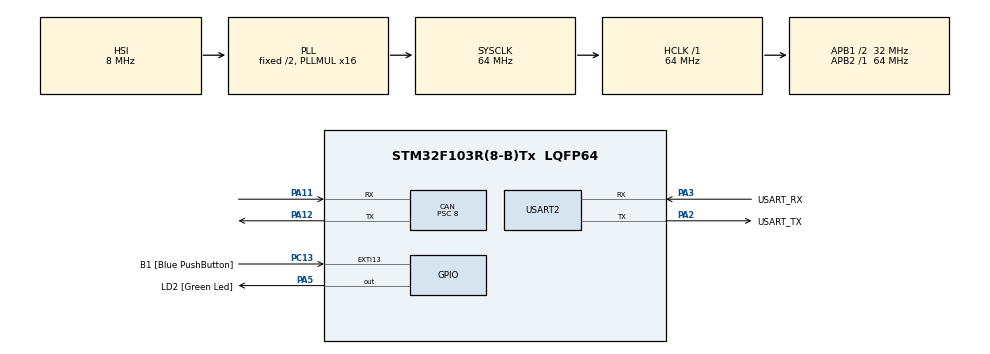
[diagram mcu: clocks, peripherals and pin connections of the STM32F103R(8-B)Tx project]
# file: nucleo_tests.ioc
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CAN.BS1=CAN_BS1_11TQ
CAN.BS2=CAN_BS2_4TQ
CAN.CalculateBaudRate=250000
CAN.CalculateTimeBit=4000
CAN.CalculateTimeQuantum=250.0
CAN.Mode=CAN_MODE_NORMAL
CAN.Prescaler=8
Mcu.Family=STM32F1
Mcu.Name=STM32F103R(8-B)Tx
Mcu.Package=LQFP64
NVIC.CAN1_RX1_IRQn=true\:0\:0\:false\:false\:true\:true\:true\:true
NVIC.CAN1_SCE_IRQn=true\:0\:0\:false\:false\:true\:true\:true\:true
NVIC.EXTI15_10_IRQn=true\:0\:0\:false\:false\:true\:true\:true\:true
NVIC.PriorityGroup=NVIC_PRIORITYGROUP_4
NVIC.USB_HP_CAN1_TX_IRQn=true\:0\:0\:false\:false\:true\:true\:true\:true
NVIC.USB_LP_CAN1_RX0_IRQn=true\:0\:0\:false\:false\:true\:true\:true\:true
PA11.Mode=CAN_Activate
PA11.Signal=CAN_RX
PA12.Mode=CAN_Activate
PA12.Signal=CAN_TX
PA13.GPIO_Label=TMS
PA13.Mode=Serial_Wire
PA13.Signal=SYS_JTMS-SWDIO
PA14.GPIO_Label=TCK
PA14.Mode=Serial_Wire
PA14.Signal=SYS_JTCK-SWCLK
PA2.GPIO_Label=USART_TX
PA2.GPIO_Mode=GPIO_MODE_AF_PP
PA2.GPIO_PuPd=GPIO_NOPULL
PA2.GPIO_Speed=GPIO_SPEED_FREQ_LOW
PA2.Mode=Asynchronous
PA2.Signal=USART2_TX
PA3.GPIO_Label=USART_RX
PA3.GPIO_Mode=GPIO_MODE_AF_PP
PA3.GPIO_PuPd=GPIO_NOPULL
PA3.GPIO_Speed=GPIO_SPEED_FREQ_LOW
PA3.Mode=Asynchronous
PA3.Signal=USART2_RX
PA5.GPIO_Label=LD2 [Green Led]
PA5.GPIO_ModeDefaultOutputPP=GPIO_MODE_OUTPUT_PP
PA5.GPIO_PuPd=GPIO_NOPULL
PA5.GPIO_Speed=GPIO_SPEED_FREQ_LOW
PA5.Signal=GPIO_Output
PB3.GPIO_Label=SWO
PB3.Signal=SYS_JTDO-TRACESWO
PC13-TAMPER-RTC.GPIO_Label=B1 [Blue PushButton]
PC13-TAMPER-RTC.GPIO_PuPd=GPIO_NOPULL
PC13-TAMPER-RTC.Signal=GPXTI13
PC14-OSC32_IN.Mode=LSE-External-Oscillator
PC14-OSC32_IN.Signal=RCC_OSC32_IN
PC15-OSC32_OUT.Mode=LSE-External-Oscillator
PC15-OSC32_OUT.Signal=RCC_OSC32_OUT
PD0-OSC_IN.Mode=HSE-External-Clock-Source
PD0-OSC_IN.Signal=RCC_OSC_IN
PD1-OSC_OUT.Mode=HSE-External-Clock-Source
PD1-OSC_OUT.Signal=RCC_OSC_OUT
ProjectManager.HeapSize=0x200
ProjectManager.StackSize=0x400
ProjectManager.TargetToolchain=STM32CubeIDE
RCC.AHBFreq_Value=64000000
RCC.APB1CLKDivider=RCC_HCLK_DIV2
RCC.APB1Freq_Value=32000000
RCC.APB1TimFreq_Value=64000000
RCC.APB2Freq_Value=64000000
RCC.APB2TimFreq_Value=64000000
RCC.HCLKFreq_Value=64000000
RCC.PLLMUL=RCC_PLL_MUL16
RCC.RTCClockSelection=RCC_RTCCLKSOURCE_LSE
RCC.SYSCLKFreq_VALUE=64000000
RCC.SYSCLKSource=RCC_SYSCLKSOURCE_PLLCLK
RCC.USBFreq_Value=64000000
USART2.VirtualMode=VM_ASYNC
board=NUCLEO-F103RB

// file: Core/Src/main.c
/* USER CODE BEGIN Header */
/**
  ******************************************************************************
  * @file           : main.c
  * @brief          : Main program body
  ******************************************************************************
  * @attention
  *
  * Copyright (c) 2025 STMicroelectronics.
  * All rights reserved.
  *
  * This software is licensed under terms that can be found in the LICENSE file
  * in the root directory of this software component.
  * If no LICENSE file comes with this software, it is provided AS-IS.
  *
  ******************************************************************************
  */
/* USER CODE END Header */
#include "main.h"

/* USER CODE BEGIN Includes */
#include <stdio.h>
/* USER CODE END Includes */

CAN_HandleTypeDef hcan;

UART_HandleTypeDef huart2;

/* USER CODE BEGIN PV */
CAN_TxHeaderTypeDef TxHeader;
CAN_RxHeaderTypeDef RxHeader;

uint32_t TxMailbox;

uint8_t TxData[8];
uint8_t RxData[8];

uint32_t msg_count = 0;
/* USER CODE END PV */

void SystemClock_Config(void);
static void MX_GPIO_Init(void);
static void MX_USART2_UART_Init(void);
static void MX_CAN_Init(void);
/* USER CODE BEGIN PFP */
void DBG(char * msg)
{
	int len = 0;
	char buffer;

	len = snprintf(&buffer, sizeof buffer, msg);
	HAL_UART_Transmit(&huart2, (uint8_t *) &buffer, len, HAL_MAX_DELAY);
}

void HAL_CAN_RxFifo0MsgPendingCallback(CAN_HandleTypeDef *hcan)
{
//    DBG("HAL_CAN_RxFifo0MsgPendingCallback");
    if (HAL_CAN_GetRxMessage(hcan, CAN_RX_FIFO0, &RxHeader, RxData) == HAL_OK) {
//        DBG("Got message %lu - id = 0x%04lx len = 0x%lx, data=%02x%02x%02x%02x%02x%02x%02x%02x", msg_count + 1, RxHeader.StdId, RxHeader.DLC, RxData[0], RxData[1], RxData[2], RxData[3], RxData[4], RxData[5], RxData[6], RxData[7]);
    }
    msg_count++;
}
/* USER CODE END PFP */

int main(void)
{

  /* MCU Configuration--------------------------------------------------------*/

  /* Reset of all peripherals, Initializes the Flash interface and the Systick. */
  HAL_Init();

  /* Configure the system clock */
  SystemClock_Config();

  /* Initialize all configured peripherals */
  MX_GPIO_Init();
  MX_USART2_UART_Init();
  MX_CAN_Init();
  /* USER CODE BEGIN 2 */
//	DBG("\n\n\n\n\n---------------------\nCAN Loopback Starting");

	CAN_FilterTypeDef canfilterconfig;

	canfilterconfig.FilterActivation = CAN_FILTER_ENABLE;
	canfilterconfig.FilterBank = 12;  // anything between 0 to SlaveStartFilterBank
	canfilterconfig.FilterFIFOAssignment = CAN_RX_FIFO0;
	//canfilterconfig.FilterIdHigh = 0x103<<5;
	canfilterconfig.FilterIdHigh = 0x0000;
	canfilterconfig.FilterIdLow = 0x0000;
	//canfilterconfig.FilterMaskIdHigh = 0x1<<13;
	canfilterconfig.FilterMaskIdHigh = 0x0;
	canfilterconfig.FilterMaskIdLow = 0x0;
	canfilterconfig.FilterMode = CAN_FILTERMODE_IDMASK;
	canfilterconfig.FilterScale = CAN_FILTERSCALE_32BIT;
	canfilterconfig.SlaveStartFilterBank = 13;  // 13 to 27 are assigned to slave CAN (CAN 2) OR 0 to 12 are assgned to CAN1

	HAL_CAN_ConfigFilter(&hcan, &canfilterconfig);

	HAL_CAN_Start(&hcan);

	HAL_CAN_ActivateNotification(
	   &hcan,
	   CAN_IT_TX_MAILBOX_EMPTY |
	   CAN_IT_RX_FIFO0_MSG_PENDING |
	   CAN_IT_RX_FIFO0_FULL |
	   CAN_IT_RX_FIFO0_OVERRUN |
	   CAN_IT_RX_FIFO1_MSG_PENDING |
	   CAN_IT_RX_FIFO1_FULL |
	   CAN_IT_RX_FIFO1_OVERRUN |
	   CAN_IT_WAKEUP |
	   CAN_IT_SLEEP_ACK |
	   CAN_IT_ERROR_WARNING |
	   CAN_IT_ERROR_PASSIVE |
	   CAN_IT_BUSOFF |
	   CAN_IT_LAST_ERROR_CODE |
	   CAN_IT_ERROR
	);
  /* USER CODE END 2 */

  /* Infinite loop */
  /* USER CODE BEGIN WHILE */
  uint32_t now = 0, last_blink = 0, last_tx = 0;

  while (1) {

	  now = HAL_GetTick();

	  if (now - last_tx >= 100) {

		  TxHeader.DLC = 4;
		  TxHeader.ExtId = 0;
		  TxHeader.IDE = CAN_ID_STD;
		  TxHeader.RTR = CAN_RTR_DATA;
		  TxHeader.StdId = 0x601;
		  //TxHeader.TransmitGlobalTime = DISABLE;

		  if (HAL_CAN_AddTxMessage(&hcan, &TxHeader, (uint8_t *)&now, &TxMailbox) != HAL_OK)
		  {
			  Error_Handler();
		  }

		  last_tx = now;
	  }

	  if (now - last_blink >= 500) {

		  HAL_GPIO_TogglePin(LD2_GPIO_Port, LD2_Pin);

		  last_blink = now;

	  }
    /* USER CODE END WHILE */

  }
}

void SystemClock_Config(void)
{
  RCC_OscInitTypeDef RCC_OscInitStruct = {0};
  RCC_ClkInitTypeDef RCC_ClkInitStruct = {0};

  /** Initializes the RCC Oscillators according to the specified parameters
  * in the RCC_OscInitTypeDef structure.
  */
  RCC_OscInitStruct.OscillatorType = RCC_OSCILLATORTYPE_HSI;
  RCC_OscInitStruct.HSIState = RCC_HSI_ON;
  RCC_OscInitStruct.HSICalibrationValue = RCC_HSICALIBRATION_DEFAULT;
  RCC_OscInitStruct.PLL.PLLState = RCC_PLL_ON;
  RCC_OscInitStruct.PLL.PLLSource = RCC_PLLSOURCE_HSI_DIV2;
  RCC_OscInitStruct.PLL.PLLMUL = RCC_PLL_MUL16;
  if (HAL_RCC_OscConfig(&RCC_OscInitStruct) != HAL_OK)
  {
    Error_Handler();
  }

  /** Initializes the CPU, AHB and APB buses clocks
  */
  RCC_ClkInitStruct.ClockType = RCC_CLOCKTYPE_HCLK|RCC_CLOCKTYPE_SYSCLK
                              |RCC_CLOCKTYPE_PCLK1|RCC_CLOCKTYPE_PCLK2;
  RCC_ClkInitStruct.SYSCLKSource = RCC_SYSCLKSOURCE_PLLCLK;
  RCC_ClkInitStruct.AHBCLKDivider = RCC_SYSCLK_DIV1;
  RCC_ClkInitStruct.APB1CLKDivider = RCC_HCLK_DIV2;
  RCC_ClkInitStruct.APB2CLKDivider = RCC_HCLK_DIV1;

  if (HAL_RCC_ClockConfig(&RCC_ClkInitStruct, FLASH_LATENCY_2) != HAL_OK)
  {
    Error_Handler();
  }
}

static void MX_CAN_Init(void)
{

  hcan.Instance = CAN1;
  hcan.Init.Prescaler = 8;
  hcan.Init.Mode = CAN_MODE_NORMAL;
  hcan.Init.SyncJumpWidth = CAN_SJW_1TQ;
  hcan.Init.TimeSeg1 = CAN_BS1_11TQ;
  hcan.Init.TimeSeg2 = CAN_BS2_4TQ;
  hcan.Init.TimeTriggeredMode = DISABLE;
  hcan.Init.AutoBusOff = DISABLE;
  hcan.Init.AutoWakeUp = DISABLE;
  hcan.Init.AutoRetransmission = DISABLE;
  hcan.Init.ReceiveFifoLocked = DISABLE;
  hcan.Init.TransmitFifoPriority = DISABLE;
  if (HAL_CAN_Init(&hcan) != HAL_OK)
  {
    Error_Handler();
  }

}

static void MX_USART2_UART_Init(void)
{

  huart2.Instance = USART2;
  huart2.Init.BaudRate = 115200;
  huart2.Init.WordLength = UART_WORDLENGTH_8B;
  huart2.Init.StopBits = UART_STOPBITS_1;
  huart2.Init.Parity = UART_PARITY_NONE;
  huart2.Init.Mode = UART_MODE_TX_RX;
  huart2.Init.HwFlowCtl = UART_HWCONTROL_NONE;
  huart2.Init.OverSampling = UART_OVERSAMPLING_16;
  if (HAL_UART_Init(&huart2) != HAL_OK)
  {
    Error_Handler();
  }

}

static void MX_GPIO_Init(void)
{
  GPIO_InitTypeDef GPIO_InitStruct = {0};

  /* GPIO Ports Clock Enable */
  __HAL_RCC_GPIOC_CLK_ENABLE();
  __HAL_RCC_GPIOD_CLK_ENABLE();
  __HAL_RCC_GPIOA_CLK_ENABLE();
  __HAL_RCC_GPIOB_CLK_ENABLE();

  /*Configure GPIO pin Output Level */
  HAL_GPIO_WritePin(LD2_GPIO_Port, LD2_Pin, GPIO_PIN_RESET);

  /*Configure GPIO pin : B1_Pin */
  GPIO_InitStruct.Pin = B1_Pin;
  GPIO_InitStruct.Mode = GPIO_MODE_IT_RISING;
  GPIO_InitStruct.Pull = GPIO_NOPULL;
  HAL_GPIO_Init(B1_GPIO_Port, &GPIO_InitStruct);

  /*Configure GPIO pin : LD2_Pin */
  GPIO_InitStruct.Pin = LD2_Pin;
  GPIO_InitStruct.Mode = GPIO_MODE_OUTPUT_PP;
  GPIO_InitStruct.Pull = GPIO_NOPULL;
  GPIO_InitStruct.Speed = GPIO_SPEED_FREQ_LOW;
  HAL_GPIO_Init(LD2_GPIO_Port, &GPIO_InitStruct);

  /* EXTI interrupt init*/
  HAL_NVIC_SetPriority(EXTI15_10_IRQn, 0, 0);
  HAL_NVIC_EnableIRQ(EXTI15_10_IRQn);

}

void Error_Handler(void)
{
  /* USER CODE BEGIN Error_Handler_Debug */
  /* User can add his own implementation to report the HAL error return state */
  __disable_irq();
  uint32_t now = 0, last_blink = 0;

  while (1)
  {
	  now = HAL_GetTick();

	  if (now - last_blink >= 100) {

		  HAL_GPIO_TogglePin(LD2_GPIO_Port, LD2_Pin);

		  last_blink = now;

	  }
  }
  /* USER CODE END Error_Handler_Debug */
}
